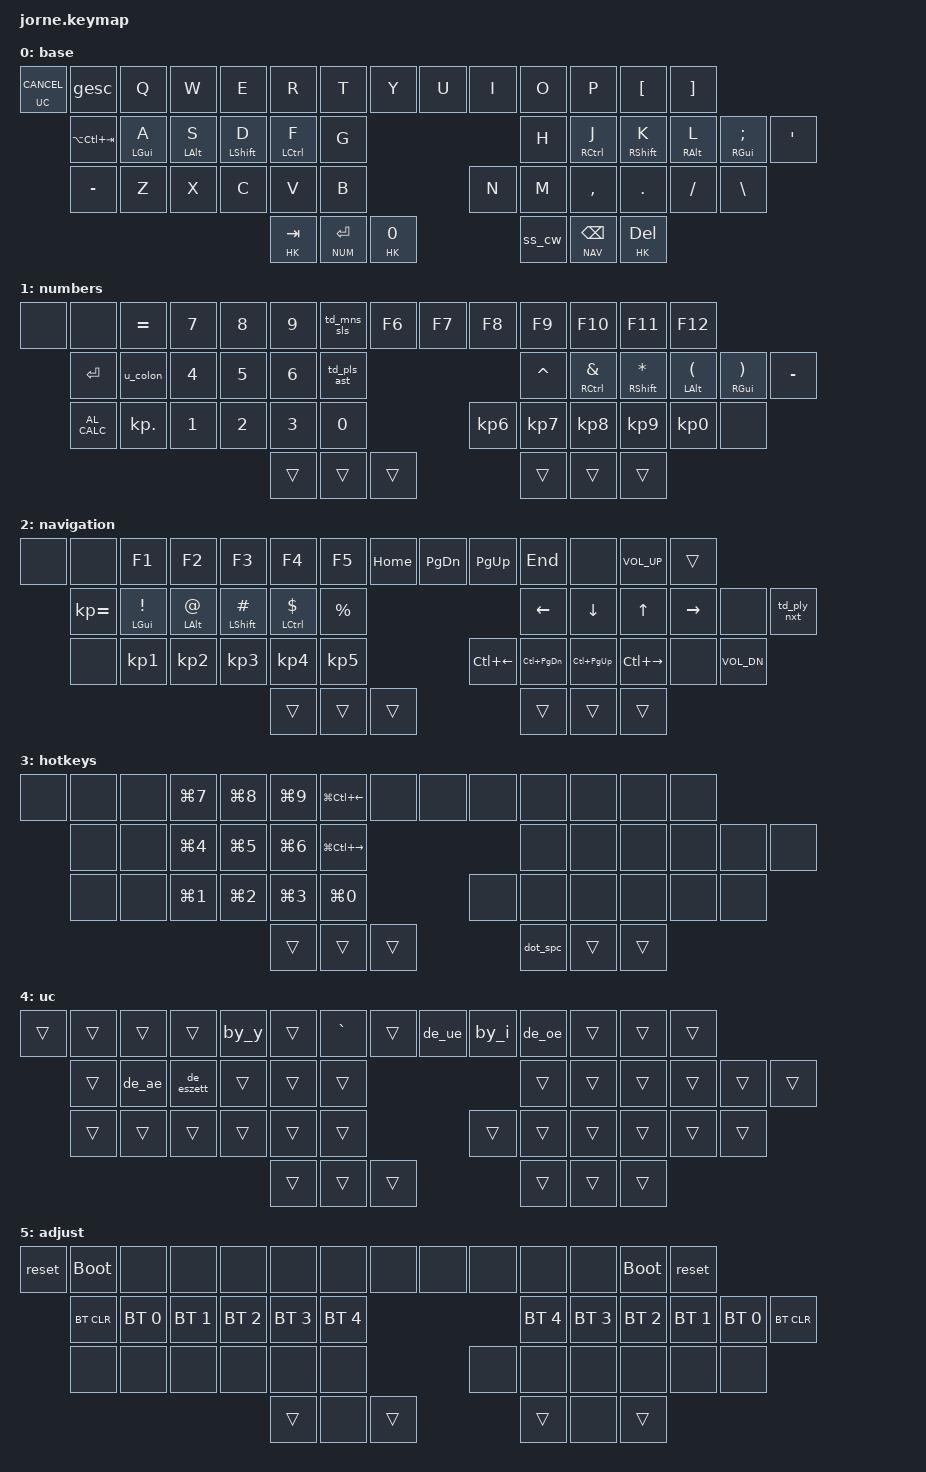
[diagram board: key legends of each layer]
#include <behaviors.dtsi>
#include <dt-bindings/zmk/keys.h>
#include <dt-bindings/zmk/bt.h>

#define HOST_OS 2
#include "../zmk-nodefree-config/helper.h"
#include "../zmk-nodefree-config/international_chars/german_alt.dtsi"

/* source keypos definitions */
#include "../zmk-nodefree-config/keypos_def/keypos_44keys.h"

// layer shortcuts, must match order in which they are defined below
#define DEF 0
#define NUM 1
#define NAV 2
#define HK 3
#define UC 4
#define ADJ 5

#define XXX &none
#define ___ &trans

/* Settings */

#define QUICK_TAP_MS 175

&mt {
    flavor = "tap-preferred";
    tapping-term-ms = <220>;
    quick-tap-ms = <220>;              // repeat on tap-into-hold
    hold-trigger-key-positions = <0>;  // tap on interrupt
};

&lt {  // layer-tap config
    flavor = "balanced";
    tapping-term-ms = <200>;
    quick-tap-ms = <QUICK_TAP_MS>;
};

&sk {
    quick-release;
};

ZMK_CONDITIONAL_LAYER(NUM NAV, ADJ)    // NUM + NAV --> ADJ

// unicode colon
ZMK_UNICODE_SINGLE(u_colon, KP_N0, KP_N0, KP_N5, KP_N8)  // :
ZMK_UNICODE_SINGLE(u_dot,   KP_N0, KP_N0, KP_N4, KP_N6)  // .
//ZMK_UNICODE_SINGLE(u_comma, KP_N0, KP_N0, KP_N4, KP_N4)  // ,

// Belarussian letters
ZMK_UNICODE_PAIR(by_y, KP_N0, KP_N1,  KP_N6, KP_N2,    KP_N0, KP_N1,  KP_N6, KP_N1)  // ў/Ў
ZMK_UNICODE_PAIR(by_i, KP_N0, KP_N1,  KP_N7, KP_N9,    KP_N0, KP_N1,  KP_N7, KP_N8)  // і/І

// COMBOS
/*  ╭─────────────────────────┬─────────────────────────╮
 ╭──╯ LT5 LT4 LT3 LT2 LT1 LT0 │ RT0 RT1 RT2 RT3 RT4 RT5 ╰──╮
 │LT6 LM5 LM4 LM3 LM2 LM1 LM0 │ RM0 RM1 RM2 RM3 RM4 RM5 RT6│
 ╰──╮ LB5 LB4 LB3 LB2 LB1 LB0 │ RB0 RB1 RB2 RB3 RB4 RB5 ╭──╯
    ╰───────────╮ LH2 LH1 LH0 │ RH0 RH1 RH2 ╭───────────╯
                ╰─────────────┴─────────────╯             */
// use global-quick-tap-ms for combos (requires PR 1387)
#undef COMBO_HOOK
#define COMBO_HOOK global-quick-tap-ms = <75>;

#define COMBO_TERM_FAST 20
#define COMBO_TERM_SLOW 35

ZMK_COMBO(combo_cut,   &kp LS(DEL),  LB3 LB1,   DEF, COMBO_TERM_SLOW)
ZMK_COMBO(combo_copy,  &kp LC(INS),  LB3 LB2,   DEF, COMBO_TERM_FAST)
ZMK_COMBO(combo_paste, &kp LS(INS),  LB2 LB1,   DEF, COMBO_TERM_FAST)
ZMK_COMBO(combo_all,   &kp LC(A), LB3 LB2 LB1,  DEF, COMBO_TERM_FAST)

// Switch languages
ZMK_COMBO(combo_lang1, &kp LC(LS(N1)),  LM1 LM2,  ALL, COMBO_TERM_FAST)
ZMK_COMBO(combo_lang2, &kp LC(LS(N2)),  RM1 RM2,  ALL, COMBO_TERM_FAST)

//ZMK_COMBO(esc,   &kp ESC,       LT3 LT2,     DEF NAV NUM, COMBO_TERM_FAST)
//ZMK_COMBO(tab,   &kp TAB,       LT2 LT1,     DEF NAV NUM, COMBO_TERM_FAST)
//ZMK_COMBO(ret,   &kp RETURN,    LM2 LM1,     DEF NAV NUM, COMBO_TERM_FAST)


// TAP DANCE
// tap: play/pause | double-tap: next track | triple-tap: prev. track
ZMK_BEHAVIOR(td_ply_nxt, tap_dance,
    tapping-term-ms = <280>;
    bindings = <&kp C_PLAY_PAUSE>, <&kp C_NEXT>, <&kp C_PREV>;
)
ZMK_BEHAVIOR(td_mns_sls, tap_dance,
    tapping-term-ms = <200>;
    bindings = <&kp MINUS>, <&kp KP_DIVIDE>;
)
ZMK_BEHAVIOR(td_pls_ast, tap_dance,
    tapping-term-ms = <200>;
    bindings = <&kp PLUS>, <&kp KP_MULTIPLY>;
)

// MACRO
ZMK_BEHAVIOR(dot_spc, macro,
    wait-ms = <0>;
    tap-ms = <5>;
    bindings = <&u_dot &kp SPACE &sk LSHFT>;
)

// MOD MORPH
// grave escape
ZMK_BEHAVIOR(gesc, mod_morph,
    bindings = <&kp ESC>, <&kp GRAVE>;
    mods = <(MOD_LSFT|MOD_RSFT)>;
    keep-mods = <MOD_RSFT>;
)

// tap: sticky-shift | shift + tap / double-tap: caps-word | hold: shift
&caps_word {
    // Allow caps word to continue even when minus or underscore are pressed.
    continue-list = <UNDERSCORE MINUS>;
};
ZMK_BEHAVIOR(ss_cw, mod_morph,
    bindings = <&sk LSHFT>, <&caps_word>;
    mods = <(MOD_LSFT)>;
)

// tap: space | shift + tap: comma -> space
ZMK_BEHAVIOR(comma_spc, macro,
    wait-ms = <0>;
    tap-ms = <5>;
    bindings
    = <&macro_press &kp LALT>
    , <&macro_tap &kp KP_N4 &kp KP_N4>
    , <&macro_release &kp LALT>
    , <&macro_tap &kp SPACE>;
)
ZMK_BEHAVIOR(spc_morph, mod_morph,
    bindings = <&kp SPACE>, <&comma_spc>;
    mods = <(MOD_LSFT|MOD_RSFT)>;
)
ZMK_BEHAVIOR(lt_spc, hold_tap,
    flavor = "balanced";
    tapping-term-ms = <200>;
    quick-tap-ms = <QUICK_TAP_MS>;
    bindings = <&mo>, <&spc_morph>;
)

/* Homerow mods */
#define KEYS_L LT0 LT1 LT2 LT3 LT4 LT5 LT6 LM0 LM1 LM2 LM3 LM4 LM5 LB0 LB1 LB2 LB3 LB4 LB5  // left-hand keys
#define KEYS_R RT0 RT1 RT2 RT3 RT4 RT5 RT6 RM0 RM1 RM2 RM3 RM4 RM5 RB0 RB1 RB2 RB3 RB4 RB5  // right-hand keys
#define THUMBS LH2 LH1 LH0 RH0 RH1 RH2                                                      // thumb keys

ZMK_BEHAVIOR(hml, hold_tap,  // left-hand HRMs
    flavor = "balanced";
    tapping-term-ms = <280>;
    quick-tap-ms = <QUICK_TAP_MS>;
    global-quick-tap-ms = <150>;        // requires PR #1387
    bindings = <&kp>, <&kp>;
    hold-trigger-key-positions = <KEYS_R THUMBS>;
    hold-trigger-on-release;            // requires PR #1423
)

ZMK_BEHAVIOR(hmr, hold_tap,  // right-hand HRMs
    flavor = "balanced";
    tapping-term-ms = <280>;
    quick-tap-ms = <QUICK_TAP_MS>;
    global-quick-tap-ms = <150>;        // requires PR #1387
    bindings = <&kp>, <&kp>;
    hold-trigger-key-positions = <KEYS_L THUMBS>;
    hold-trigger-on-release;            // requires PR #1423
)


// ▄▄▄▄▄▄▄▄▄▄▄▄▄▄▄▄▄▄▄▄▄▄▄▄▄▄▄▄▄▄▄▄▄▄▄▄▄▄▄▄▄▄▄▄▄▄▄▄▄▄▄▄▄▄▄▄▄▄▄▄▄▄▄▄▄▄▄▄▄▄▄▄▄▄▄▄▄▄▄▄▄▄▄▄▄▄▄▄▄▄▄▄▄▄▄▄▄▄▄▄▄▄▄▄▄▄▄▄▄▄▄▄▄▄▄▄▄▄▄▄▄▄▄▄▄▄▄▄▄▄▄▄▄▄▄▄▄▄▄▄▄▄▄▄
ZMK_LAYER(base,
// ╭─────┬─────┬─────┬─────┬─────┬─────┬─────╮   ╭─────┬─────┬─────┬─────┬─────┬─────┬─────╮
// │ GUI │ESC~ │  Q  │  W  │  E  │  R  │  T  │   │  Y  │  U  │  I  │  O  │  P  │  [  │  ]  │
// ╰─────│ACTAB│GUI/A│ALT/S│SFT/D│CTR/F│  G  │   │  H  │CTR/J│SFT/K│ALT/L│GUI/;│  '  │─────╯
//       |  -  │  Z  │  X  │  C  │  V  │  B  │   │  N  │  M  │  ,  │  .  │  /  │  \  │
//       ╰───────────│HK/TAB│NUM/RET │HK/SPC │   │SHIFT│NAV/BSPC│ HK/DEL │───────────╯
//                   ╰───────────────────────╯   ╰───────────────────────╯
   &lt UC K_CANCEL &gesc      &kp Q &kp W &kp E &kp R &kp T &kp Y               &kp U   &kp I  &kp O   &kp P    &kp LBKT   &kp RBKT
        	&kp LA(LC(TAB)) &hml LGUI A &hml LALT S &hml LSHIFT D &hml LCTRL F  &kp G   &kp H  &hmr RCTRL J &hmr RSHIFT K &hmr RALT L &hmr RGUI SEMI &kp SQT
            &kp MINUS 	&kp Z &kp X &kp C &kp V &kp B                                   &kp N  &kp M  &kp COMMA    &kp DOT &kp FSLH &kp BSLH
                                                &lt HK TAB  &lt NUM RETURN &lt_spc HK 0 	    &ss_cw &lt NAV BSPC &lt HK DEL
)
// ▄▄▄▄▄▄▄▄▄▄▄▄▄▄▄▄▄▄▄▄▄▄▄▄▄▄▄▄▄▄▄▄▄▄▄▄▄▄▄▄▄▄▄▄▄▄▄▄▄▄▄▄▄▄▄▄▄▄▄▄▄▄▄▄▄▄▄▄▄▄▄▄▄▄▄▄▄▄▄▄▄▄▄▄▄▄▄▄▄▄▄▄▄▄▄▄▄▄▄▄▄▄▄▄▄▄▄▄▄▄▄▄▄▄▄▄▄▄▄▄▄▄▄▄▄▄▄▄▄▄▄▄▄▄▄▄▄▄▄▄▄▄▄▄
ZMK_LAYER(numbers,
// -------------------------------------------------------------------------------------------
// |     |      |  =  |  7  |  8  |  9  | -// |    |  F6 |  F7 |  F8 |  F9 | F10 | F11 | F12 |
//       |  ENT |  :  |  4  |  5  |  6  | +/* |    |  ^  |CTR/&|SFT/*|ALT/(|GUI/)|  -  |
//       | CALC |  .  |  1  |  2  |  3  |  0  |    |  6  |  7  |  8  |  9  |  0  |     |
//                          |TRANS|TRANS|TRANS|    |TRANS|TRANS|TRANS|
   XXX 	XXX             &kp EQUAL  &kp N7 &kp N8 &kp N9 &td_mns_sls &kp F6      &kp F7   &kp F8   &kp F9   &kp F10  &kp F11 &kp F12 
        &kp ENTER    	&u_colon	   &kp N4 &kp N5 &kp N6 &td_pls_ast &kp CARET   &hmr RCTRL AMPS &hmr RSHIFT STAR &hmr LALT LPAR &hmr RGUI RPAR &kp MINUS
        &kp C_AL_CALC   &kp KP_DOT &kp N1 &kp N2 &kp N3 &kp N0      &kp KP_N6      &kp KP_N7   &kp KP_N8   &kp KP_N9   &kp KP_N0   XXX
                                                    ___ ___ ___ 	___ ___ ___
)
// ▄▄▄▄▄▄▄▄▄▄▄▄▄▄▄▄▄▄▄▄▄▄▄▄▄▄▄▄▄▄▄▄▄▄▄▄▄▄▄▄▄▄▄▄▄▄▄▄▄▄▄▄▄▄▄▄▄▄▄▄▄▄▄▄▄▄▄▄▄▄▄▄▄▄▄▄▄▄▄▄▄▄▄▄▄▄▄▄▄▄▄▄▄▄▄▄▄▄▄▄▄▄▄▄▄▄▄▄▄▄▄▄▄▄▄▄▄▄▄▄▄▄▄▄▄▄▄▄▄▄▄▄▄▄▄▄▄▄▄▄▄▄▄▄
ZMK_LAYER(navigation,
// ----------------------------------------------------------------------------------------
// |     |     |  F1 |  F2 |  F3 |  F4 |  F5 |   | HOME| PGDN| PGUP| END |     | VOLU |     |
//       |     |GUI/!|ALT/@|SFT/#|CTR/$|  %  |   | LEFT| DOWN|  UP | RGHT|     | PLAY |
//       |     |  1  |  2  |  3  |  4  |  5  |   |C+LEFT|C+PGDN|C+PGUP|C+RGHT| | VOLD |
//                         |TRANS|TRANS|TRANS|   |TRANS|TRANS|TRANS|
   XXX  XXX	        &kp F1      &kp F2 &kp F3   &kp F4      &kp F5                  &kp HOME    &kp PG_DN   	&kp PG_UP       &kp END   		XXX &kp C_VOL_UP ___
        &kp KP_EQUAL   &hml LGUI EXCL  &hml LALT AT &hml LSHIFT HASH &hml LCTRL DLLR   &kp PRCNT   &kp LEFT 	    &kp DOWN 	    &kp UP &kp RIGHT    XXX &td_ply_nxt
        XXX         &kp KP_N1   &kp KP_N2 &kp KP_N3 &kp KP_N4 &kp KP_N5             &kp LC(LEFT)  &kp LC(PG_DN)   &kp LC(PG_UP)   &kp LC(RIGHT)   XXX &kp C_VOL_DN
                                                        ___ ___ ___     ___ ___ ___
)
// ▄▄▄▄▄▄▄▄▄▄▄▄▄▄▄▄▄▄▄▄▄▄▄▄▄▄▄▄▄▄▄▄▄▄▄▄▄▄▄▄▄▄▄▄▄▄▄▄▄▄▄▄▄▄▄▄▄▄▄▄▄▄▄▄▄▄▄▄▄▄▄▄▄▄▄▄▄▄▄▄▄▄▄▄▄▄▄▄▄▄▄▄▄▄▄▄▄▄▄▄▄▄▄▄▄▄▄▄▄▄▄▄▄▄▄▄▄▄▄▄▄▄▄▄▄▄▄▄▄▄▄▄▄▄▄▄▄▄▄▄▄▄▄▄
ZMK_LAYER(hotkeys,
   XXX  XXX XXX &kp LG(N7) &kp LG(N8) &kp LG(N9) &kp LG(LC(LEFT))   XXX XXX XXX XXX XXX XXX XXX
        XXX XXX &kp LG(N4) &kp LG(N5) &kp LG(N6) &kp LG(LC(RIGHT))  XXX XXX XXX XXX XXX XXX
        XXX XXX &kp LG(N1) &kp LG(N2) &kp LG(N3) &kp LG(N0)     XXX XXX XXX XXX XXX XXX
                                        ___ ___ ___     &dot_spc ___ ___
)
// ▄▄▄▄▄▄▄▄▄▄▄▄▄▄▄▄▄▄▄▄▄▄▄▄▄▄▄▄▄▄▄▄▄▄▄▄▄▄▄▄▄▄▄▄▄▄▄▄▄▄▄▄▄▄▄▄▄▄▄▄▄▄▄▄▄▄▄▄▄▄▄▄▄▄▄▄▄▄▄▄▄▄▄▄▄▄▄▄▄▄▄▄▄▄▄▄▄▄▄▄▄▄▄▄▄▄▄▄▄▄▄▄▄▄▄▄▄▄▄▄▄▄▄▄▄▄▄▄▄▄▄▄▄▄▄▄▄▄▄▄▄▄▄▄
ZMK_LAYER(uc,
    ___ ___ ___ ___ &by_y ___ &kp GRAVE     ___ &de_ue &by_i &de_oe ___ ___ ___
        ___ &de_ae &de_eszett ___ ___ ___   ___ ___ ___ ___ ___ ___
        ___         ___ ___ ___ ___ ___     ___ ___ ___ ___ ___ ___
          	                ___ ___ ___     ___ ___ ___
)
// ▄▄▄▄▄▄▄▄▄▄▄▄▄▄▄▄▄▄▄▄▄▄▄▄▄▄▄▄▄▄▄▄▄▄▄▄▄▄▄▄▄▄▄▄▄▄▄▄▄▄▄▄▄▄▄▄▄▄▄▄▄▄▄▄▄▄▄▄▄▄▄▄▄▄▄▄▄▄▄▄▄▄▄▄▄▄▄▄▄▄▄▄▄▄▄▄▄▄▄▄▄▄▄▄▄▄▄▄▄▄▄▄▄▄▄▄▄▄▄▄▄▄▄▄▄▄▄▄▄▄▄▄▄▄▄▄▄▄▄▄▄▄▄▄
ZMK_LAYER(adjust,
// -----------------------------------------------------------------------------------------
// | RST | BLDR |     |     |     |     |     |   |     |     |     |     |     | BLDR | RST |
//       | BTCLR| BT0 | BT1 | BT2 | BT3 | BT4 |   | BT4 | BT3 | BT2 | BT1 | BT0 | BTCLR|
//       |      |     |     |     |     |     |   |     |     |     |     |     |      |
//                          |     |     |     |   |     |     |     |
   &reset &bootloader XXX        XXX        XXX        XXX        XXX         XXX        XXX        XXX        XXX        XXX         &bootloader &reset
          &bt BT_CLR  &bt BT_SEL 0 &bt BT_SEL 1 &bt BT_SEL 2 &bt BT_SEL 3 &bt BT_SEL 4  &bt BT_SEL 4 &bt BT_SEL 3 &bt BT_SEL 2 &bt BT_SEL 1 &bt BT_SEL 0  &bt BT_CLR
          XXX       XXX        XXX        XXX        XXX        XXX         XXX        XXX        XXX        XXX        XXX         XXX
                                                            ___ XXX ___         ___ XXX ___
)
